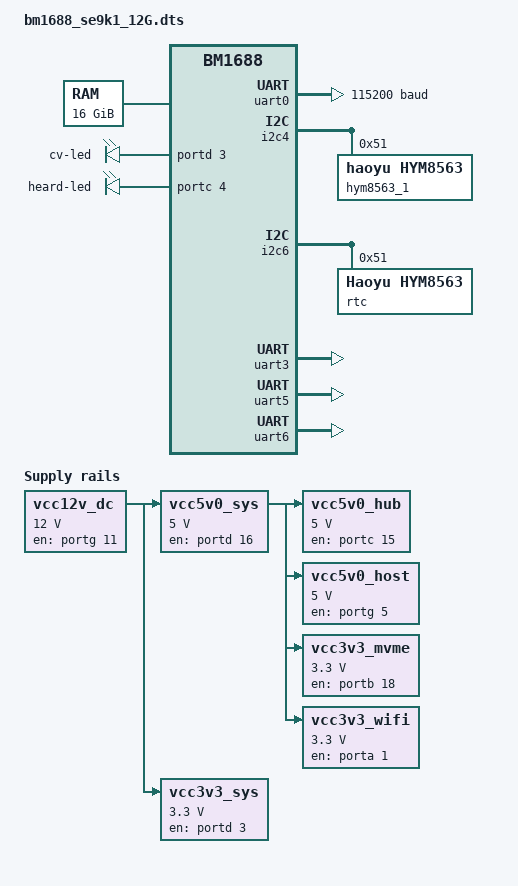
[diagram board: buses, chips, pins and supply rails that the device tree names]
/dts-v1/;
#include "soph_base_arm64.dtsi"
//#include "soph_asic_bga.dtsi"
#include "soph_asic_emmc.dtsi"
#include "soph_default_memmap.dtsi"

/ {
	aliases {
		serial0 = &uart0;
	};

	chosen {
		stdout-path = "serial0"; // "serial0:115200n8", no arguments means no re-initialization
	};

	memory@100000000 {
		device_type = "memory";
		reg = <0x1 0x00000000 0x4 0x00000000>;	//16G
	};

	reserved-memory {
		#address-cells = <0x2>;
		#size-cells = <0x2>;
		ranges;
#ifndef __UBOOT__
		//0x1_0400_0000 - 0x1_2400_0000 for TPU (owner: zhuolin.li@sophgo.com)
		//Don't move the TPU address
		scalar_reserved: scalar_mem {
			reg = <0x1 0x04000000 0x0 0x20000000>;  //512MB for TPU firmware
			no-map;
		};

		ion_for_npu: ion_npu_mem {
			compatible = "npu-region";
			reg = <0x2 0x00000000 0x0 0xC0000000>; // 3G, for npu
		};

		ion_for_vpp: ion_vpp_mem {
			compatible = "vpp-region";
			reg = <0x3 0x00000000 0x1 0x00000000>; // 4G, for TPU
		};
#endif
	};

	pcie1:pcie@20400000 {
		pipe-mode = <0x2>; //b'00 x2&&x2; b'10 sata&&x2
		reset-gpio = <&porte 24 GPIO_ACTIVE_HIGH>; //gpio 184
	};

	/delete-node/ cv-sd1;
	sd:cv-sd@29310000 {
		pwr-gpios = <&portg 6 GPIO_ACTIVE_HIGH>;
	};

	thermal-zones {
		soc_thermal_0 {
			trips {
				soc_thermal_trip_0 {
					temperature = <90000>; /* millicelsius 85->110000 */
					hysteresis = <10000>; /* millicelsius */
					type = "passive";
				};

				soc_thermal_trip_1 {
					temperature = <100000>; /* millicelsius 95->120 */
					hysteresis = <20000>; /* millicelsius */
					type = "passive";
				};

				soc_thermal_crtical_0 {
					temperature = <115000>; /* millicelsius 105->125 */
					hysteresis = <0>; /* millicelsius */
					type = "critical";
				};
			};
		};
	};


	zkwl-gpio {
		compatible = "zkwl-gpio";
		status = "okay";
		pcie-clk {
		    gpio_num = <&portd 11 GPIO_ACTIVE_LOW>;
			gpio_function = <10>;
		};
		pcie-wake1 {
		    gpio_num = <&portb 9 GPIO_ACTIVE_LOW>;
			gpio_function = <20>;
 		};
		pcie-wake2 {
		    gpio_num = <&portb 12 GPIO_ACTIVE_LOW>;
			gpio_function = <20>;
		};
	};

	cv_leds:cv_leds {
		compatible = "gpio-leds";
		status = "okay";
		device-led {
			status = "ok";
			label = "cv-led";
			gpios = <&portd 3 GPIO_ACTIVE_HIGH>;
			linux,default-trigger = "timer";
			panic-indicator;
		};
//gpio4 I2S0_SDO / PWM4 / GPIO4 / UART7_TX / CAM_HS2
		device-heard {
			status = "ok";
			label = "heard-led";
			gpios = <&portc 4 GPIO_ACTIVE_HIGH>;
 			linux,default-trigger = "heartbeat";
 			default-state = "on";
 		};

   };




	vcc12v_dc: vcc12v-dc {
		compatible = "regulator-fixed";
		regulator-name = "vcc12v_dc";
		regulator-always-on;
		regulator-boot-on;
		regulator-min-microvolt = <12000000>;
		regulator-max-microvolt = <12000000>;
		enable-active-high;
		gpios = <&portg 11 GPIO_ACTIVE_HIGH>;
	};

	vcc5v0_sys: vcc5v0-sys {
		compatible = "regulator-fixed";
		regulator-name = "vcc5v0_sys";
		regulator-always-on;
		regulator-boot-on;
		regulator-min-microvolt = <5000000>;
		regulator-max-microvolt = <5000000>;
		enable-active-high;
		//gpios = <&portd 21 GPIO_ACTIVE_HIGH>;
		gpios = <&portd 16 GPIO_ACTIVE_HIGH>;
		vin-supply = <&vcc12v_dc>;
	};

	vcc3v3_sys: vcc3v3-sys {
		compatible = "regulator-fixed";
		regulator-name = "vcc3v3_sys";
		regulator-always-on;
		regulator-boot-on;
		regulator-min-microvolt = <3300000>;
		regulator-max-microvolt = <3300000>;
		enable-active-high;
		gpios = <&portd 3 GPIO_ACTIVE_HIGH>;
		vin-supply = <&vcc12v_dc>;
	};

	vcc5v0_hub: vcc5v0-hub {
		compatible = "regulator-fixed";
		regulator-name = "vcc5v0_hub";
		regulator-always-on;
		regulator-boot-on;
		regulator-min-microvolt = <5000000>;
		regulator-max-microvolt = <5000000>;
		enable-active-high;
		gpios = <&portc 15 GPIO_ACTIVE_HIGH>;
		vin-supply = <&vcc5v0_sys>;
	};

	vcc5v0_host: vcc5v0-host {
		compatible = "regulator-fixed";
		regulator-name = "vcc5v0_host";
		regulator-boot-on;
		regulator-always-on;
		regulator-min-microvolt = <5000000>;
		regulator-max-microvolt = <5000000>;
		enable-active-high;
		gpios = <&portg 5 GPIO_ACTIVE_HIGH>;
		vin-supply = <&vcc5v0_sys>;
	};

	vcc3v3_mvme: vcc3v3-nvme {
		compatible = "regulator-fixed";
		regulator-name = "vcc3v3_mvme";
		regulator-always-on;
		regulator-boot-on;
		regulator-min-microvolt = <3300000>;
		regulator-max-microvolt = <3300000>;
		enable-active-high;
		gpios = <&portb 18 GPIO_ACTIVE_HIGH>;
		vin-supply = <&vcc5v0_sys>;
	};
/*
	vcc3v8_4g: vcc3v8-4g {
		compatible = "regulator-fixed";
		regulator-name = "vcc3v8_4g";
		regulator-boot-on;
		regulator-always-on;
		regulator-min-microvolt = <3800000>;
		regulator-max-microvolt = <3800000>;
		enable-active-high;
		gpios = <&portg 4 GPIO_ACTIVE_HIGH>;
		vin-supply = <&vcc5v0_sys>;
	};
*/
	vcc3v3_wifi: vcc3v3-wifi {
		compatible = "regulator-fixed";
		regulator-name = "vcc3v3_wifi";
		regulator-boot-on;
		regulator-always-on;
		regulator-min-microvolt = <3300000>;
		regulator-max-microvolt = <3300000>;
		enable-active-high;
		gpios = <&porta 1 GPIO_ACTIVE_HIGH>;
		vin-supply = <&vcc5v0_sys>;
	};
/*
	i2c11: i2c@11 {
		compatible = "i2c-gpio";
		sda-gpios = <&porte 3 GPIO_ACTIVE_HIGH>;
		scl-gpios = <&porte 4 GPIO_ACTIVE_HIGH>;
		i2c-gpio,delay-us = <5>;
		#address-cells = <1>;
		#size-cells = <0>;
		reset-names = "i2c11";
		status = "okay";

		pmic010: pmic010@50 {
			compatible = "BasisLink,cs32l010";
			shutdown-gpio = <&portg 0 GPIO_ACTIVE_HIGH>;
			reg = <0x50>;
		};
	};
*/
};

&uart0 {
	clock-frequency = <200000000>;
	current-speed = <115200>;
};

&hdmi {
	phy-table =
			<0  0x0007 0x0120 0x8d88>,
			<1  0x0007 0x0120 0x8d88>,
			<2  0x0007 0x0120 0x8d88>,
			<3  0x0007 0x0120 0x8d88>,
			<4  0x0007 0x0120 0x8d88>,
			<5  0x0007 0x0120 0x8d88>,
			<6  0x0000 0x0120 0x83F8>,
			<7  0x0000 0x0120 0x83F8>,
			<8  0x0000 0x0120 0x83F8>,
			<9  0x0000 0x0080 0x8FF4>,
			<10 0x0000 0x0080 0x8FF4>;
	hpd_level = "low";
};
&usbdrd3_0 {
	usbdrd_dwc3_0: usb@39010000 {
		role-switch-default-mode = "host";
	};
};

&i2c4 {
	status = "okay";
	hym8563_1: hym8563@51 {
		status = "okay";
		compatible = "haoyu,hym8563";
		reg = <0x51>;
		#clock-cells = <0>;
	};
};

&i2c6 {
	rtc@51 {
		compatible = "Haoyu,hym8563";
		init_date = "2024/01/01";
		reg = <0x51>;
	};
};

&gpio_leds {
	status = "disable";
};

&uart3 {
	status = "okay";
};

&uart5 {
	status = "okay";
};

&uart6 {
	status = "okay";
};

&spi0 {
	status = "disable";
};
